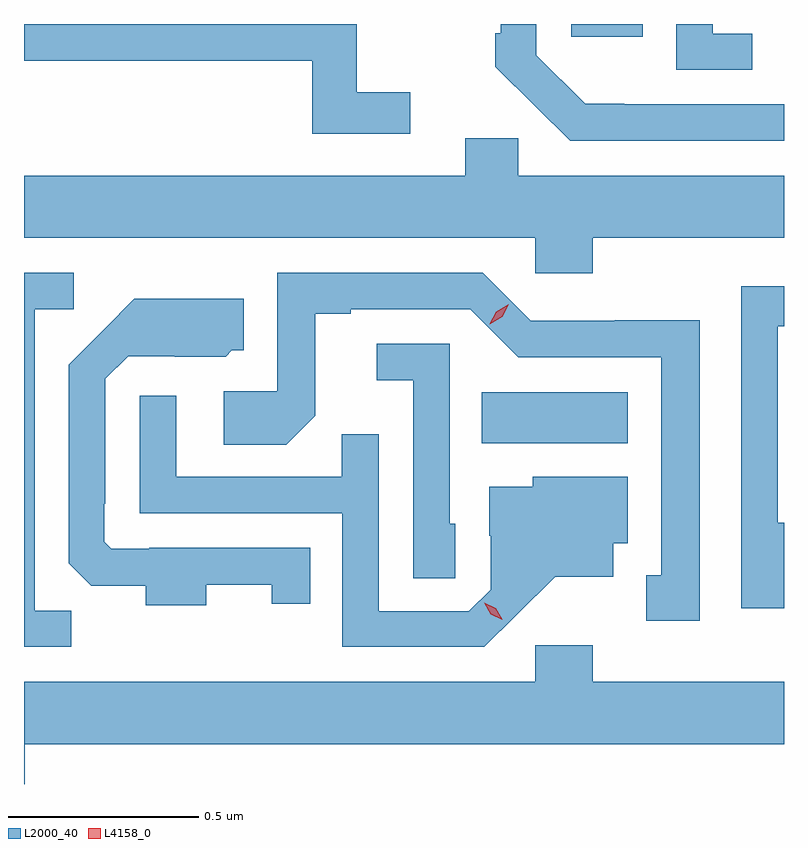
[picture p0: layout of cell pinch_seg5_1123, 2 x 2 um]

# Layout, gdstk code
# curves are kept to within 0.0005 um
import gdstk
lib = gdstk.Library(unit=1e-6, precision=1e-09)
def R(c, l, rs):  # rectangles x0, y0, x1, y1
    for r in rs: c.add(gdstk.rectangle(r[:2], r[2:], *l))
def P(c, l, *ps):  # polygons
    for p in ps: c.add(gdstk.Polygon(p, *l))
L2000_40 = (2000, 40)
L4158_0 = (4158, 0)

pinch_seg5_1123 = lib.new_cell('pinch_seg5_1123')
R(pinch_seg5_1123, L2000_40, [(805.588,866.876,805.972,867.01), (805.823,867.945,806.011,867.979)])
P(pinch_seg5_1123, L2000_40, [(805.399,867.799),(805.259,867.799),(805.259,867.979),(804.383,867.979),(804.383,867.882),(805.141,867.882),(805.141,867.69),(805.399,867.69)],
  [(806.299,867.954),(806.196,867.954),(806.196,867.979),(806.1,867.979),(806.1,867.858),(806.299,867.858)],
  [(806.383,867.768),(805.963,867.768),(805.963,867.769),(805.86,867.769),(805.731,867.897),(805.731,867.979),(805.638,867.979),(805.638,867.955),(805.623,867.955),(805.623,867.867),(805.728,867.762),(805.729,867.763),(805.82,867.672),(806.383,867.672)],
  [(805.88,867.416),(806.383,867.416),(806.383,867.58),(805.683,867.58),(805.683,867.678),(805.544,867.678),(805.544,867.58),(804.383,867.58),(804.383,867.416),(805.728,867.416),(805.728,867.323),(805.88,867.323)],
  [(804.507,866.435),(804.411,866.435),(804.411,867.228),(804.514,867.228),(804.514,867.324),(804.383,867.324),(804.383,866.34),(804.507,866.34)],
  [(806.161,867.2),(805.938,867.2),(805.938,867.198),(805.716,867.198),(805.59,867.324),(805.05,867.324),(805.05,867.012),(804.909,867.012),(804.909,866.872),(805.073,866.872),(805.149,866.948),(805.149,867.216),(805.243,867.216),(805.243,867.228),(805.557,867.228),(805.683,867.102),(806.06,867.102),(806.06,866.529),(806.021,866.529),(806.021,866.409),(806.161,866.409)],
  [(806.383,866.667),(806.367,866.667),(806.367,867.183),(806.383,867.183),(806.383,867.289),(806.271,867.289),(806.271,866.442),(806.383,866.442)],
  [(804.862,866.503),(805.035,866.503),(805.035,866.454),(805.136,866.454),(805.136,866.601),(804.712,866.601),(804.712,866.598),(804.612,866.598),(804.594,866.616),(804.594,866.716),(804.597,866.716),(804.597,867.045),(804.657,867.105),(804.78,867.105),(804.78,867.104),(804.914,867.104),(804.93,867.12),(804.961,867.12),(804.961,867.256),(804.673,867.256),(804.501,867.082),(804.501,866.56),(804.56,866.501),(804.704,866.501),(804.704,866.45),(804.862,866.45)],
  [(805.518,866.664),(805.503,866.664),(805.503,867.138),(805.311,867.138),(805.311,867.041),(805.407,867.041),(805.407,866.521),(805.518,866.521)],
  [(805.678,866.423),(805.781,866.525),(805.933,866.525),(805.933,866.612),(805.972,866.612),(805.972,866.788),(805.722,866.788),(805.722,866.761),(805.607,866.761),(805.607,866.632),(805.611,866.632),(805.611,866.49),(805.554,866.433),(805.317,866.433),(805.317,866.9),(805.219,866.9),(805.219,866.787),(804.783,866.787),(804.783,867.001),(804.687,867.001),(804.687,866.691),(805.221,866.691),(805.221,866.34),(805.594,866.34)],
  [(804.385,866.084),(806.383,866.084),(806.383,866.248),(805.88,866.248),(805.88,866.344),(805.728,866.344),(805.728,866.248),(804.383,866.248),(804.383,865.979),(804.385,865.979)])
P(pinch_seg5_1123, L4158_0, [(805.609,867.189),(805.609,867.19),(805.626,867.222),(805.658,867.242),(805.658,867.242),(805.658,867.241),(805.641,867.209),(805.609,867.189)],
  [(805.642,866.411),(805.611,866.426),(805.594,866.456),(805.594,866.456),(805.594,866.456),(805.624,866.441),(805.642,866.412),(805.642,866.411)])

lib.write_gds('pinch_seg5_1123.gds')
